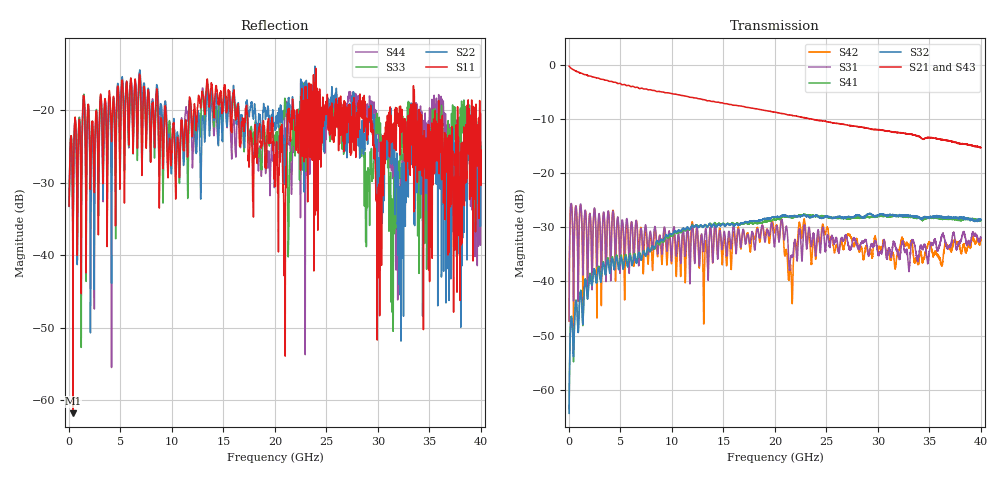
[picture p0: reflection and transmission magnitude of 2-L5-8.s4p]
! MS46524B
! 1918203/M1: 91020113/M2: 91020112
! 9/9/2020 2:28:19 PM
! C:\USERS\ANRITSUUSER\DESKTOP\2118 -5.S4P
! CHANNEL.1
! TR.MEASUREMENT
! CORRECTED.DATA
# GHZ S RI R 50.0
! FREQ.GHZ  S11RE  S11IM  S12RE  S12IM  S13RE  S13IM  S14RE  S14IM
!  S21RE  S21IM  S22RE  S22IM  S23RE  S23IM  S24RE  S24IM
!  S31RE  S31IM  S32RE  S32IM  S33RE  S33IM  S34RE  S34IM
!  S41RE  S41IM  S42RE  S42IM  S43RE  S43IM  S44RE  S44IM
!; PortSelection: Port_1234
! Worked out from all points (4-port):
!   4000 points, 10 MHz to 40 GHz, reference 50 ohm
!   strongest paths, dB at 10 MHz, 10.01 GHz, 20.01 GHz, 30.01 GHz, 40 GHz:
!     S21: -0.2, -5.3, -8.7, -11.9, -15.3
!     S43: -0.2, -5.2, -8.7, -12.2, -14.8
!     S32: -64.4, -31.3, -28.1, -27.8, -28.6
!     S41: -63.6, -31.6, -28.6, -27.9, -28.7
!     S31: -47.3, -34.6, -32.7, -35.0, -32.0
!     S42: -47.4, -34.8, -30.8, -34.1, -32.4
!   lowest |S11| = -61.8 dB at 380 MHz (marker M1), VSWR 1.00, Z = 50 + j0.0728 ohm
!   |S11| at or under -10 dB: start of sweep to end of sweep
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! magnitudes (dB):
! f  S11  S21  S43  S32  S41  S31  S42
! 10 MHz  -33.2  -0.2  -0.2  -64.4  -63.6  -47.3  -47.4
! 380 MHz  -61.8  -0.8  -0.8  -51.4  -51.8  -33.0  -33.3
! 12.06 GHz  -21.7  -6.0  -6.0  -29.9  -29.7  -30.6  -30.6
! 29.95 GHz  -35.9  -11.9  -12.2  -27.9  -28.1  -34.4  -34.0
! 31.45 GHz  -23.1  -12.4  -12.5  -27.8  -27.8  -33.2  -34.7
! 33.01 GHz  -22.4  -12.8  -12.9  -27.9  -28.0  -38.2  -33.5
! 40 GHz  -25.5  -15.3  -14.8  -28.6  -28.7  -32.0  -32.4
